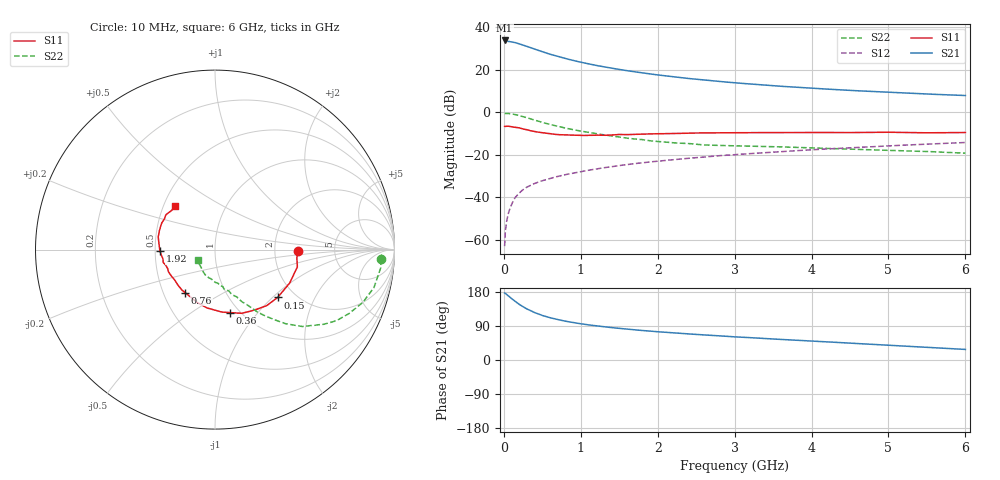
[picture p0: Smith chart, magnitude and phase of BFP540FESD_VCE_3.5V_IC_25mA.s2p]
! Infineon Technologies  Discrete & RF Semiconductors
! BFP540FESD
! VCE =  3.5 V,  IC =  25 mA
! Common Emitter S-Parameters:  Nov 2015
# GHz  S  MA  R  50
!  f  S11  S21  S12  S22
! GHz  MAG  ANG  MAG  ANG  MAG  ANG  MAG  ANG
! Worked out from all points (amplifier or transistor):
!   210 points, 10 MHz to 6 GHz, reference 50 ohm
!   highest |S21| = 33.7 dB at 10 MHz (marker M1)
!   |S21| within 3 dB of that: start of sweep to 316.5 MHz
!   unconditionally stable (mu >= 1): start of sweep to 16.66 MHz; 1.666 GHz to end of sweep
!   at 185 MHz: K = 0.37, MSG = 35.5 dB, |S12| = -38.7 dB
!   at 1.52 GHz: K = 0.98, MSG = 22.5 dB, |S12| = -25.1 dB
!   at 6 GHz: K = 1.16, MAG = 8.6 dB, |S12| = -14.3 dB
!   S11 on the Smith chart (normalised r, x): 10 MHz: 2.71, -0.06; 150 MHz: 1.63, -1.08; 360 MHz: 0.90, -0.73; 760 MHz: 0.64, -0.34; 1.92 GHz: 0.53, -0.01; 6 GHz: 0.57, +0.32
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0.01  0.4613 -1.1  48.42 176.9  0.0007 83.1  0.9247 -3.2
0.02  0.4587 -6.1  46.83 175.7  0.0016 80.6  0.9287 -1.9
0.05  0.4689 -11.9  46.43 170.7  0.0036 73.8  0.9288 -6.3
0.1  0.4558 -24.1  44.85 162.1  0.0066 77.8  0.9107 -13.4
0.15  0.4393 -37.4  42.99 154.2  0.0099 73.4  0.8746 -19.7
0.2  0.4249 -47.2  40.3 146.8  0.0124 72.8  0.8285 -25.4
0.24  0.405 -55.4  38.16 141.8  0.0145 70.5  0.7919 -29.4
0.3  0.3844 -67.4  35.13 134.6  0.0172 69.5  0.7347 -34.5
0.36  0.3603 -76.8  32.14 129.2  0.0194 67.9  0.6813 -38.4
0.4  0.3502 -83.7  30.32 125.1  0.0209 67.0  0.6478 -41.4
0.5  0.3279 -97.9  26.36 117.5  0.0243 66.0  0.5704 -46.4
0.6  0.3102 -109.0  22.98 111.6  0.0274 64.6  0.5099 -49.9
0.76  0.2919 -124.9  19.07 104.2  0.0325 64.6  0.4366 -54.6
0.9  0.2863 -136.0  16.39 98.7  0.0365 64.4  0.3855 -57.7
1.02  0.2817 -143.5  14.64 95.1  0.0401 64.6  0.3522 -60.1
1.4  0.2881 -162.6  10.79 85.5  0.0517 63.7  0.2739 -68.2
1.92  0.3071 -178.6  7.819 76.0  0.0677 62.0  0.2089 -78.8
2.02  0.3095 178.1  7.41 74.2  0.0703 61.3  0.2026 -81.8
3.1  0.3276 160.6  4.733 60.1  0.1022 56.0  0.1596 -103.2
4.1  0.331 152.2  3.555 48.9  0.1326 50.2  0.1418 -116.8
5.1  0.3331 143.3  2.872 37.8  0.1635 42.7  0.1237 -130.0
6  0.3303 132.2  2.452 27.9  0.1923 35.4  0.108 -148.8
